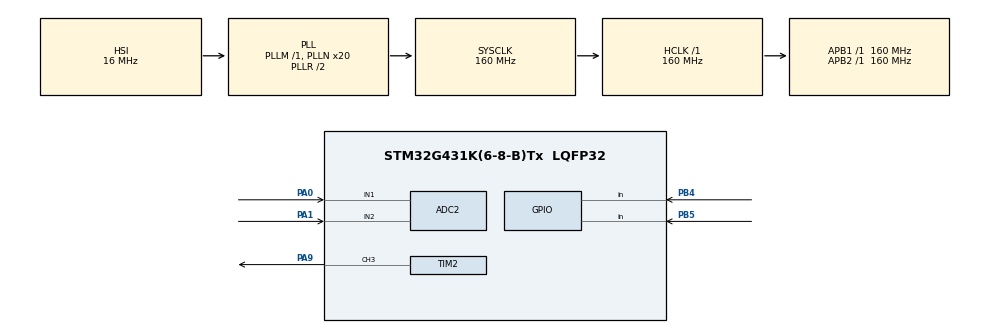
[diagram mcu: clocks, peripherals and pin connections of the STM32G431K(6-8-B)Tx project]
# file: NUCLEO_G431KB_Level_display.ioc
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ADC2.Channel-1\#ChannelRegularConversion=ADC_CHANNEL_1
ADC2.DMAContinuousRequests=ENABLE
ADC2.ExternalTrigConv=ADC_EXTERNALTRIG_T8_TRGO
ADC2.NbrOfConversion=1
ADC2.NbrOfConversionFlag=1
ADC2.OffsetNumber-1\#ChannelRegularConversion=ADC_OFFSET_NONE
ADC2.Rank-1\#ChannelRegularConversion=1
ADC2.SamplingTime-1\#ChannelRegularConversion=ADC_SAMPLETIME_247CYCLES_5
Dma.ADC2.1.Direction=DMA_PERIPH_TO_MEMORY
Dma.ADC2.1.EventEnable=DISABLE
Dma.ADC2.1.Instance=DMA1_Channel1
Dma.ADC2.1.MemDataAlignment=DMA_MDATAALIGN_HALFWORD
Dma.ADC2.1.MemInc=DMA_MINC_ENABLE
Dma.ADC2.1.Mode=DMA_CIRCULAR
Dma.ADC2.1.PeriphDataAlignment=DMA_PDATAALIGN_HALFWORD
Dma.ADC2.1.PeriphInc=DMA_PINC_DISABLE
Dma.ADC2.1.Polarity=HAL_DMAMUX_REQ_GEN_RISING
Dma.ADC2.1.Priority=DMA_PRIORITY_LOW
Dma.ADC2.1.RequestNumber=1
Dma.ADC2.1.SignalID=NONE
Dma.ADC2.1.SyncEnable=DISABLE
Dma.ADC2.1.SyncPolarity=HAL_DMAMUX_SYNC_NO_EVENT
Dma.ADC2.1.SyncRequestNumber=1
Dma.ADC2.1.SyncSignalID=NONE
Dma.Request0=TIM2_CH3
Dma.Request1=ADC2
Dma.TIM2_CH3.0.Direction=DMA_MEMORY_TO_PERIPH
Dma.TIM2_CH3.0.EventEnable=DISABLE
Dma.TIM2_CH3.0.Instance=DMA1_Channel2
Dma.TIM2_CH3.0.MemDataAlignment=DMA_MDATAALIGN_BYTE
Dma.TIM2_CH3.0.MemInc=DMA_MINC_ENABLE
Dma.TIM2_CH3.0.Mode=DMA_CIRCULAR
Dma.TIM2_CH3.0.PeriphDataAlignment=DMA_PDATAALIGN_WORD
Dma.TIM2_CH3.0.PeriphInc=DMA_PINC_DISABLE
Dma.TIM2_CH3.0.Polarity=HAL_DMAMUX_REQ_GEN_RISING
Dma.TIM2_CH3.0.Priority=DMA_PRIORITY_VERY_HIGH
Dma.TIM2_CH3.0.RequestNumber=1
Dma.TIM2_CH3.0.SignalID=NONE
Dma.TIM2_CH3.0.SyncEnable=DISABLE
Dma.TIM2_CH3.0.SyncPolarity=HAL_DMAMUX_SYNC_NO_EVENT
Dma.TIM2_CH3.0.SyncRequestNumber=1
Dma.TIM2_CH3.0.SyncSignalID=NONE
Mcu.Family=STM32G4
Mcu.Name=STM32G431K(6-8-B)Tx
Mcu.Package=LQFP32
NUCLEO-G431KB.LD2=true
NUCLEO-G431KB.VCP=true
NVIC.ADC1_2_IRQn=true\:0\:0\:false\:false\:true\:true\:true\:true
NVIC.DMA1_Channel1_IRQn=true\:0\:0\:false\:false\:true\:false\:true\:true
NVIC.DMA1_Channel2_IRQn=true\:0\:0\:false\:false\:true\:false\:true\:true
NVIC.PriorityGroup=NVIC_PRIORITYGROUP_4
NVIC.TIM2_IRQn=true\:0\:0\:false\:false\:true\:true\:true\:true
PA0.Mode=IN1-Single-Ended
PA0.Signal=ADC2_IN1
PA1.Mode=IN2-Single-Ended
PA1.Signal=ADC2_IN2
PA13.GPIO_Label=T_SWDIO
PA13.Mode=Trace_Asynchronous_SW
PA13.Signal=SYS_JTMS-SWDIO
PA14.GPIO_Label=T_SWCLK
PA14.Mode=Trace_Asynchronous_SW
PA14.Signal=SYS_JTCK-SWCLK
PA2.Signal=USART2_TX
PA3.Signal=USART2_RX
PA9.Signal=S_TIM2_CH3
PB3.GPIO_Label=T_SWO
PB3.Mode=Trace_Asynchronous_SW
PB3.Signal=SYS_JTDO-SWO
PB4.Signal=GPIO_Input
PB5.Signal=GPIO_Input
ProjectManager.HeapSize=0x200
ProjectManager.StackSize=0x400
ProjectManager.TargetToolchain=CMake
RCC.ADC12Freq_Value=160000000
RCC.AHBFreq_Value=160000000
RCC.APB1Freq_Value=160000000
RCC.APB1TimFreq_Value=160000000
RCC.APB2Freq_Value=160000000
RCC.APB2TimFreq_Value=160000000
RCC.CortexFreq_Value=160000000
RCC.EXTERNAL_CLOCK_VALUE=12288000
RCC.HCLKFreq_Value=160000000
RCC.HSE_VALUE=8000000
RCC.HSI48_VALUE=48000000
RCC.HSI_VALUE=16000000
RCC.LSE_VALUE=32768
RCC.PLLN=20
RCC.SYSCLKFreq_VALUE=160000000
RCC.SYSCLKSource=RCC_SYSCLKSOURCE_PLLCLK
RCC.USBFreq_Value=160000000
RCC.VCOOutputFreq_Value=320000000
SH.S_TIM2_CH3.0=TIM2_CH3,PWM Generation3 CH3
TIM2.Channel-PWM\ Generation3\ CH3=TIM_CHANNEL_3
TIM2.PeriodNoDither=100-1
TIM2.Prescaler=2-1
TIM8.PeriodNoDither=1000-1
TIM8.Prescaler=16000-1
TIM8.TIM_MasterOutputTrigger=TIM_TRGO_UPDATE
VP_NUCLEO-G431KB_VS_BSP_COMMON.Mode=COMMON
VP_SYS_VS_DBSignals.Mode=DisableDeadBatterySignals
VP_TIM2_VS_ClockSourceINT.Mode=Internal
VP_TIM8_VS_ClockSourceINT.Mode=Internal
board=NUCLEO-G431KB

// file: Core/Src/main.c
/* USER CODE BEGIN Header */
/**
  ******************************************************************************
  * @file           : main.c
  * @brief          : Main program body
  ******************************************************************************
  * @attention
  *
  * Copyright (c) 2026 STMicroelectronics.
  * All rights reserved.
  *
  * This software is licensed under terms that can be found in the LICENSE file
  * in the root directory of this software component.
  * If no LICENSE file comes with this software, it is provided AS-IS.
  *
  ******************************************************************************
  */
/* USER CODE END Header */
#include "main.h"

/* USER CODE BEGIN Includes */
#include "sk6812.h"
#include <stdint.h>
#include <stdbool.h>
/* USER CODE END Includes */

/* USER CODE BEGIN PD */
#define ADC_NUM_CONVERSIONS 1
#define ADC_RAW_TO_VOLTAGE(adc_value) ((adc_value * 3.3) / 4095) // Assuming a 12-bit ADC and 3.3V reference voltage
#define SENSOR_VOLTAGE_LOW_THRESHOLD_DEFAULT 0.5 // Voltage threshold for low level indication (adjust as needed)
#define SENSOR_VOLTAGE_HIGH_THRESHOLD_DEFAULT 4.5 // Voltage threshold for high level indication (adjust as needed)
#define SENSOR_VOLTAGE_LOW_ERROR_THRESHOLD 0.4 // Voltage threshold for low level error indication (adjust as needed)
#define SENSOR_VOLTAGE_HIGH_ERROR_THRESHOLD 4.7 // Voltage threshold for high level error indication (adjust as needed)

#define LED_COUNT 8 // Adjust this to the number of LEDs in your setup
#define BRIGHTNESS_MIN 0.1 // Minimum brightness (10%)
#define BRIGHTNESS_MAX 1.0 // Maximum brightness (100%)
#define BRIGHTNESS_STEP 0.05 // Step size for brightness adjustment (5%)
#define BRIGHTNESS_DEFAULT 0.3 // Default brightness (30%)
#define BRIGHTNESS_SAVE_DELAY_MS 1500U
#define CAL_FULL_VOLTAGE_HOLD_MS  4000U
#define CAL_EMPTY_VOLTAGE_HOLD_MS 7000U
#define CAL_BRIGHTNESS_HOLD_MS    10000U
#define CAL_RESET_HOLD_MS         15000U
#define CALIBRATION_TIMEOUT_MS    6000U
#define BRIGHTNESS_NV_MAGIC 0x42524631U
#define BRIGHTNESS_NV_ADDRESS (FLASH_BASE + (128U * 1024U) - FLASH_PAGE_SIZE)
#define CALIBRATION_NV_MARKER 0xA55AF00DU
/* USER CODE END PD */

COM_InitTypeDef BspCOMInit;

ADC_HandleTypeDef hadc2;
DMA_HandleTypeDef hdma_adc2;

TIM_HandleTypeDef htim2;
TIM_HandleTypeDef htim8;
DMA_HandleTypeDef hdma_tim2_ch3;

/* USER CODE BEGIN PV */
volatile uint16_t adcData[ADC_NUM_CONVERSIONS];
volatile float potVoltage[ADC_NUM_CONVERSIONS];
volatile float sensorVoltage[ADC_NUM_CONVERSIONS];
typedef struct {
  uint8_t stable_state;
  uint8_t last_raw;
  uint32_t last_change_ms;
} DebouncedInput;

volatile uint8_t sw1_state = 0;
volatile uint8_t sw2_state = 0;
static DebouncedInput sw1_db = {0, 0, 0};
static DebouncedInput sw2_db = {0, 0, 0};
/* USER CODE END PV */

void SystemClock_Config(void);
static void MX_GPIO_Init(void);
static void MX_DMA_Init(void);
static void MX_TIM2_Init(void);
static void MX_ADC2_Init(void);
static void MX_TIM8_Init(void);
/* USER CODE BEGIN PFP */

uint32_t hsl_to_rgb(uint8_t h, uint8_t s, uint8_t l);
static uint8_t debounce_read_gpio(DebouncedInput *db, GPIO_TypeDef *port, uint16_t pin, uint32_t debounce_ms);
static double brightness_clamp(double brightness);
static uint16_t brightness_to_milli(double brightness);
static double brightness_from_milli(uint16_t milli);
static uint16_t voltage_to_milli(double voltage);
static double voltage_from_milli(uint16_t milli);
static void normalize_sensor_thresholds(double *low_threshold, double *high_threshold);
static void calibration_values_load_from_flash(double *brightness, double *low_threshold, double *high_threshold);
static void calibration_values_write_to_flash(double brightness, double low_threshold, double high_threshold);
static void brightness_save_to_flash(double brightness);
static void low_threshold_save_to_flash(double low_threshold);
static void high_threshold_save_to_flash(double high_threshold);

/* USER CODE END PFP */

/* USER CODE BEGIN 0 */
static double brightness_clamp(double brightness) {
  if (brightness < BRIGHTNESS_MIN) {
    return BRIGHTNESS_MIN;
  }
  if (brightness > BRIGHTNESS_MAX) {
    return BRIGHTNESS_MAX;
  }
  return brightness;
}

static uint16_t brightness_to_milli(double brightness) {
  return (uint16_t)(brightness_clamp(brightness) * 1000.0 + 0.5);
}

static double brightness_from_milli(uint16_t milli) {
  return brightness_clamp((double)milli / 1000.0);
}

static uint16_t voltage_to_milli(double voltage) {
  if (voltage < 0.0) {
    voltage = 0.0;
  }
  if (voltage > 5.0) {
    voltage = 5.0;
  }
  return (uint16_t)(voltage * 1000.0 + 0.5);
}

static double voltage_from_milli(uint16_t milli) {
  return (double)milli / 1000.0;
}

static void normalize_sensor_thresholds(double *low_threshold, double *high_threshold) {
  if (*low_threshold < 0.0) {
    *low_threshold = 0.0;
  }
  if (*low_threshold > 5.0) {
    *low_threshold = 5.0;
  }
  if (*high_threshold < 0.0) {
    *high_threshold = 0.0;
  }
  if (*high_threshold > 5.0) {
    *high_threshold = 5.0;
  }

  if (*high_threshold <= *low_threshold) {
    *high_threshold = *low_threshold + 0.1;
    if (*high_threshold > 5.0) {
      *high_threshold = 5.0;
      *low_threshold = 4.9;
    }
  }
}

static void calibration_values_load_from_flash(double *brightness, double *low_threshold, double *high_threshold) {
  const uint64_t raw0 = *(const uint64_t *)BRIGHTNESS_NV_ADDRESS;
  const uint64_t raw1 = *(const uint64_t *)(BRIGHTNESS_NV_ADDRESS + 8U);
  const uint32_t magic = (uint32_t)(raw0 & 0xFFFFFFFFULL);
  const uint16_t brightness_milli = (uint16_t)((raw0 >> 32) & 0xFFFFULL);
  const uint16_t low_milli = (uint16_t)((raw0 >> 48) & 0xFFFFULL);
  const uint16_t high_milli = (uint16_t)(raw1 & 0xFFFFULL);
  const uint16_t check = (uint16_t)((raw1 >> 16) & 0xFFFFULL);
  const uint32_t marker = (uint32_t)((raw1 >> 32) & 0xFFFFFFFFULL);
  const uint16_t expected_check = (uint16_t)(brightness_milli ^ low_milli ^ high_milli ^ 0xA5A5U);

  if ((magic == BRIGHTNESS_NV_MAGIC) &&
      (marker == CALIBRATION_NV_MARKER) &&
      (check == expected_check)) {
    *brightness = brightness_from_milli(brightness_milli);
    *low_threshold = voltage_from_milli(low_milli);
    *high_threshold = voltage_from_milli(high_milli);
    normalize_sensor_thresholds(low_threshold, high_threshold);
  }
}

static void calibration_values_write_to_flash(double brightness, double low_threshold, double high_threshold) {
  FLASH_EraseInitTypeDef erase = {0};
  uint32_t page_error = 0;
  const uint16_t brightness_milli = brightness_to_milli(brightness);
  uint16_t low_milli = 0;
  uint16_t high_milli = 0;
  uint16_t check = 0;
  uint64_t payload0 = 0;
  uint64_t payload1 = 0;

  normalize_sensor_thresholds(&low_threshold, &high_threshold);

  low_milli = voltage_to_milli(low_threshold);
  high_milli = voltage_to_milli(high_threshold);
  check = (uint16_t)(brightness_milli ^ low_milli ^ high_milli ^ 0xA5A5U);

  payload0 = ((uint64_t)low_milli << 48)
           | ((uint64_t)brightness_milli << 32)
           | (uint64_t)BRIGHTNESS_NV_MAGIC;

  payload1 = ((uint64_t)CALIBRATION_NV_MARKER << 32)
           | ((uint64_t)check << 16)
           | (uint64_t)high_milli;

  HAL_FLASH_Unlock();

  erase.TypeErase = FLASH_TYPEERASE_PAGES;
  erase.Banks = FLASH_BANK_1;
  erase.Page = (BRIGHTNESS_NV_ADDRESS - FLASH_BASE) / FLASH_PAGE_SIZE;
  erase.NbPages = 1;

  if (HAL_FLASHEx_Erase(&erase, &page_error) == HAL_OK) {
    (void)HAL_FLASH_Program(FLASH_TYPEPROGRAM_DOUBLEWORD, BRIGHTNESS_NV_ADDRESS, payload0);
    (void)HAL_FLASH_Program(FLASH_TYPEPROGRAM_DOUBLEWORD, BRIGHTNESS_NV_ADDRESS + 8U, payload1);
  }

  HAL_FLASH_Lock();
}

static void brightness_save_to_flash(double brightness) {
  double current_brightness = BRIGHTNESS_DEFAULT;
  double current_low_threshold = SENSOR_VOLTAGE_LOW_THRESHOLD_DEFAULT;
  double current_high_threshold = SENSOR_VOLTAGE_HIGH_THRESHOLD_DEFAULT;

  calibration_values_load_from_flash(&current_brightness, &current_low_threshold, &current_high_threshold);
  calibration_values_write_to_flash(brightness, current_low_threshold, current_high_threshold);
}

static void low_threshold_save_to_flash(double low_threshold) {
  double current_brightness = BRIGHTNESS_DEFAULT;
  double current_low_threshold = SENSOR_VOLTAGE_LOW_THRESHOLD_DEFAULT;
  double current_high_threshold = SENSOR_VOLTAGE_HIGH_THRESHOLD_DEFAULT;

  calibration_values_load_from_flash(&current_brightness, &current_low_threshold, &current_high_threshold);
  calibration_values_write_to_flash(current_brightness, low_threshold, current_high_threshold);
}

static void high_threshold_save_to_flash(double high_threshold) {
  double current_brightness = BRIGHTNESS_DEFAULT;
  double current_low_threshold = SENSOR_VOLTAGE_LOW_THRESHOLD_DEFAULT;
  double current_high_threshold = SENSOR_VOLTAGE_HIGH_THRESHOLD_DEFAULT;

  calibration_values_load_from_flash(&current_brightness, &current_low_threshold, &current_high_threshold);
  calibration_values_write_to_flash(current_brightness, current_low_threshold, high_threshold);
}

static uint8_t debounce_read_gpio(DebouncedInput *db, GPIO_TypeDef *port, uint16_t pin, uint32_t debounce_ms) {
  uint8_t raw = (uint8_t)HAL_GPIO_ReadPin(port, pin);
  uint32_t now = HAL_GetTick();

  if (raw != db->last_raw) {
    db->last_raw = raw;
    db->last_change_ms = now;
  }

  if ((now - db->last_change_ms) >= debounce_ms) {
    db->stable_state = raw;
  }

  return db->stable_state;
}

void HAL_ADC_ConvCpltCallback(ADC_HandleTypeDef *hadc) {
  for (uint8_t i = 0; i < ADC_NUM_CONVERSIONS; ++i) {
    potVoltage[i] = ADC_RAW_TO_VOLTAGE(adcData[i]);
    //sensor votage is the adcVoltage scaled to 5v
    sensorVoltage[i]  = potVoltage[i] * (5.0 / 3.3);

  }
}

/* USER CODE END 0 */

int main(void)
{

  /* MCU Configuration--------------------------------------------------------*/

  /* Reset of all peripherals, Initializes the Flash interface and the Systick. */
  HAL_Init();

  /* Configure the system clock */
  SystemClock_Config();

  /* Initialize all configured peripherals */
  MX_GPIO_Init();
  MX_DMA_Init();
  MX_TIM2_Init();
  MX_ADC2_Init();
  MX_TIM8_Init();
  /* USER CODE BEGIN 2 */
  bool sensor_voltage_low_error = false;
  bool sensor_voltage_high_error = false;
  bool calibration_mode = false;
  bool locked_for_calibration = false;
  bool full_voltage_calibration_mode = false;
  bool empty_voltage_calibration_mode = false;
  bool brightness_calibration_mode = false;

  uint32_t sw1_held_since_ms = 0;
  uint8_t sw1_held_active = 0;
  uint32_t last_button_activity_ms = 0;

  double sensor_voltage_low_threshold = SENSOR_VOLTAGE_LOW_THRESHOLD_DEFAULT;
  double sensor_voltage_high_threshold = SENSOR_VOLTAGE_HIGH_THRESHOLD_DEFAULT;
  double brightness_fraction = BRIGHTNESS_DEFAULT; // Brightness fraction constrained to BRIGHTNESS_MIN..BRIGHTNESS_MAX
  double brightness_saved_fraction = brightness_fraction;
  double low_threshold_saved = sensor_voltage_low_threshold;
  double high_threshold_saved = sensor_voltage_high_threshold;
  uint16_t flash_interval_ms = 500; // Flash interval in milliseconds
  uint8_t r, g, b; // Variables to hold RGB values for each LED
  uint8_t sw1_prev = 0;
  uint8_t sw2_prev = 0;

  calibration_values_load_from_flash(&brightness_fraction, &sensor_voltage_low_threshold, &sensor_voltage_high_threshold);
  brightness_saved_fraction = brightness_fraction;
  low_threshold_saved = sensor_voltage_low_threshold;
  high_threshold_saved = sensor_voltage_high_threshold;

  HAL_ADCEx_Calibration_Start(&hadc2, ADC_SINGLE_ENDED);
  HAL_ADC_Start_DMA(&hadc2, (uint32_t*)adcData, ADC_NUM_CONVERSIONS);
  HAL_TIM_Base_Start(&htim8);

  sw1_db.last_raw = (uint8_t)HAL_GPIO_ReadPin(SW1_GPIO_Port, SW1_Pin);
  sw1_db.stable_state = sw1_db.last_raw;
  sw1_db.last_change_ms = HAL_GetTick();

  sw2_db.last_raw = (uint8_t)HAL_GPIO_ReadPin(SW2_GPIO_Port, SW2_Pin);
  sw2_db.stable_state = sw2_db.last_raw;
  sw2_db.last_change_ms = HAL_GetTick();

  sw1_prev = sw1_db.stable_state;
  sw2_prev = sw2_db.stable_state;
  /* USER CODE END 2 */

  /* Initialize leds */
  BSP_LED_Init(LED_GREEN);

  /* Initialize COM1 port (115200, 8 bits (7-bit data + 1 stop bit), no parity */
  BspCOMInit.BaudRate   = 115200;
  BspCOMInit.WordLength = COM_WORDLENGTH_8B;
  BspCOMInit.StopBits   = COM_STOPBITS_1;
  BspCOMInit.Parity     = COM_PARITY_NONE;
  BspCOMInit.HwFlowCtl  = COM_HWCONTROL_NONE;
  if (BSP_COM_Init(COM1, &BspCOMInit) != BSP_ERROR_NONE)
  {
    Error_Handler();
  }

  /* Infinite loop */
  /* USER CODE BEGIN WHILE */
  while (1)
  {

    sw1_state = debounce_read_gpio(&sw1_db, SW1_GPIO_Port, SW1_Pin, 20U);
    sw2_state = debounce_read_gpio(&sw2_db, SW2_GPIO_Port, SW2_Pin, 20U);

    // Track any button activity for calibration timeout
    if ((sw1_state != sw1_prev) || (sw1_state == 1U) || (sw2_state != sw2_prev)) {
      last_button_activity_ms = HAL_GetTick();
    }

    // SW1 hold-duration calibration mode selection
    if (sw1_state == 1U ) {
      if (!sw1_held_active) {
        sw1_held_active = 1U;
        sw1_held_since_ms = HAL_GetTick();
      } else {
        uint32_t held_ms = HAL_GetTick() - sw1_held_since_ms;
        if (locked_for_calibration) {
          // If already locked in a calibration mode.
          //save full value after holding for 4 seconds.
          if (full_voltage_calibration_mode && held_ms >= 4000U) {
            sensor_voltage_high_threshold = sensorVoltage[0];
            normalize_sensor_thresholds(&sensor_voltage_low_threshold, &sensor_voltage_high_threshold);
            if (voltage_to_milli(high_threshold_saved) != voltage_to_milli(sensor_voltage_high_threshold)) {
              high_threshold_save_to_flash(sensor_voltage_high_threshold);
              high_threshold_saved = sensor_voltage_high_threshold;
            }
            //set calibration modes back to false
            full_voltage_calibration_mode = false;
            empty_voltage_calibration_mode = false;
            brightness_calibration_mode = false;
            calibration_mode = false;
            locked_for_calibration = false;
            sw1_held_active = 0U; // Reset hold state to prevent multiple saves without a new button press
          }
          //save empty value after holding for 4 seconds.
          if (empty_voltage_calibration_mode && held_ms >= 4000U) {
            sensor_voltage_low_threshold = sensorVoltage[0];
            normalize_sensor_thresholds(&sensor_voltage_low_threshold, &sensor_voltage_high_threshold);
            if (voltage_to_milli(low_threshold_saved) != voltage_to_milli(sensor_voltage_low_threshold)) {
              low_threshold_save_to_flash(sensor_voltage_low_threshold);
              low_threshold_saved = sensor_voltage_low_threshold;
            }
            //set calibration modes back to false
            full_voltage_calibration_mode = false;
            empty_voltage_calibration_mode = false;
            brightness_calibration_mode = false;
            calibration_mode = false;
            locked_for_calibration = false;
            sw1_held_active = 0U; // Reset hold state to prevent multiple saves without a new button press
          }

        } else {

        if (held_ms >= CAL_FULL_VOLTAGE_HOLD_MS && held_ms < CAL_EMPTY_VOLTAGE_HOLD_MS) {
          full_voltage_calibration_mode = true;
          empty_voltage_calibration_mode = false;
          brightness_calibration_mode = false;
          calibration_mode = true;
        }
        if (held_ms >= CAL_EMPTY_VOLTAGE_HOLD_MS && held_ms < CAL_BRIGHTNESS_HOLD_MS) {
          full_voltage_calibration_mode = false;
          empty_voltage_calibration_mode = true;
          brightness_calibration_mode = false;
          calibration_mode = true;
        }
        if (held_ms >=  CAL_BRIGHTNESS_HOLD_MS && held_ms < CAL_RESET_HOLD_MS) {
          full_voltage_calibration_mode = false;
          empty_voltage_calibration_mode = false;
          brightness_calibration_mode = true;
          calibration_mode = true;
        }
        if (held_ms >= CAL_RESET_HOLD_MS) {
          // Reset all calibrations
          full_voltage_calibration_mode = false;
          empty_voltage_calibration_mode = false;
          brightness_calibration_mode = false;
          calibration_mode = false;
          locked_for_calibration = false;
          sensor_voltage_low_threshold = SENSOR_VOLTAGE_LOW_THRESHOLD_DEFAULT;
          sensor_voltage_high_threshold = SENSOR_VOLTAGE_HIGH_THRESHOLD_DEFAULT;
          brightness_fraction = BRIGHTNESS_DEFAULT;
          brightness_save_to_flash(brightness_fraction);
          low_threshold_save_to_flash(sensor_voltage_low_threshold);
          high_threshold_save_to_flash(sensor_voltage_high_threshold);
          brightness_saved_fraction = brightness_fraction;
          low_threshold_saved = sensor_voltage_low_threshold;
          high_threshold_saved = sensor_voltage_high_threshold;
        }
      }
    }
    } else {
      sw1_held_active = 0U;
      if (calibration_mode && !locked_for_calibration) {
        // Lock in the calibration mode on button release to prevent accidental changes
        locked_for_calibration = true;
      } else if (!calibration_mode) {
        // If not in calibration mode, reset the locked state
        locked_for_calibration = false;
      }
    }

    // In brightness calibration mode, each SW1 press cycles brightness through the allowed range.
    if (brightness_calibration_mode && (sw1_state == 1U) && (sw1_prev == 0U)) {
      brightness_fraction += BRIGHTNESS_STEP;
      if (brightness_fraction > BRIGHTNESS_MAX) {
        brightness_fraction = BRIGHTNESS_MIN;
      }
    }

    // Exit all calibration modes after CALIBRATION_TIMEOUT_MS with no button activity
    if (calibration_mode &&
        ((HAL_GetTick() - last_button_activity_ms) >= CALIBRATION_TIMEOUT_MS)) {

      // Save brightness if it has changed and we are exiting calibration mode and     brightness_calibration_mode was active
      if (brightness_calibration_mode && (brightness_to_milli(brightness_saved_fraction) != brightness_to_milli(brightness_fraction))) {
        brightness_save_to_flash(brightness_fraction);
        brightness_saved_fraction = brightness_fraction;
      }

      calibration_mode = false;
      full_voltage_calibration_mode = false;
      empty_voltage_calibration_mode = false;
      brightness_calibration_mode = false;
      locked_for_calibration = false;
    }

    // if ((sw1_state == 1U) && (sw1_prev == 0U)) {
    //   brightness_fraction = brightness_clamp(brightness_fraction + BRIGHTNESS_STEP);
    // }

    // if ((sw2_state == 1U) && (sw2_prev == 0U)) {
    //   brightness_fraction = brightness_clamp(brightness_fraction - BRIGHTNESS_STEP);
    // }

    // if (brightness_to_milli(previous_brightness) != brightness_to_milli(brightness_fraction)) {
    //   brightness_save_pending = 1U;
    //   brightness_last_change_ms = HAL_GetTick();
    // }

    // if (brightness_save_pending && ((HAL_GetTick() - brightness_last_change_ms) >= BRIGHTNESS_SAVE_DELAY_MS)) {
    //   if (brightness_to_milli(brightness_saved_fraction) != brightness_to_milli(brightness_fraction)) {
    //     brightness_save_to_flash(brightness_fraction);
    //     brightness_saved_fraction = brightness_fraction;
    //   }
    //   brightness_save_pending = 0U;
    // }

    sw1_prev = sw1_state;
    sw2_prev = sw2_state;

    /* USER CODE END WHILE */

    /* USER CODE BEGIN 3 */
    sensor_voltage_low_error = (sensorVoltage[0] < SENSOR_VOLTAGE_LOW_ERROR_THRESHOLD);
    sensor_voltage_high_error = (sensorVoltage[0] > SENSOR_VOLTAGE_HIGH_ERROR_THRESHOLD);

    double level_percent_fraction = (sensorVoltage[0] - sensor_voltage_low_threshold) / (sensor_voltage_high_threshold - sensor_voltage_low_threshold); // Map between calibrated empty/full thresholds
    //clamp to 0..1
    if (level_percent_fraction < 0) {
      level_percent_fraction = 0;
    }
    if (level_percent_fraction > 1) {
      level_percent_fraction = 1;
    }
    double level_percent = level_percent_fraction * 100; // Convert to percentage

    // Update the LEDs based on the level percentage
    // if level is <2% the first two leds should flash red. If the level is 100% all leds should be green.

      for (uint8_t i = 0; i < LED_COUNT; i++) {
        // The leds need to act like a level display. if the level is 0% the first two leds should flash red.
        // If the level is 100% all leds should be green.
        if (full_voltage_calibration_mode) {
          // Flash top two LEDs green for full voltage calibration
          if (i >= LED_COUNT - 2) {
            if ((HAL_GetTick() / flash_interval_ms) % 2 == 0) {
              led_set_RGB(i, 0, (uint8_t)(255 * brightness_fraction), 0);
            } else {
              led_set_RGB(i, 0, 0, 0);
            }
          } else {
            led_set_RGB(i, 0, 0, 0);
          }
        } else if (empty_voltage_calibration_mode) {
          // Flash bottom two LEDs green for empty voltage calibration
          if (i < 2) {
            if ((HAL_GetTick() / flash_interval_ms) % 2 == 0) {
              led_set_RGB(i, 0, (uint8_t)(255 * brightness_fraction), 0);
            } else {
              led_set_RGB(i, 0, 0, 0);
            }
          } else {
            led_set_RGB(i, 0, 0, 0);
          }
        } else if (brightness_calibration_mode) {
          // solid white for brightness calibration
          led_set_RGB(i, (uint8_t)(255 * brightness_fraction), (uint8_t)(255 * brightness_fraction), (uint8_t)(255 * brightness_fraction));
        } else if (sensor_voltage_low_error) {
          // Flash first and last LED yellow on sensor low error
          if (i == 0 || i == LED_COUNT - 1) {
            if ((HAL_GetTick() / flash_interval_ms) % 2 == 0) {
              led_set_RGB(i, (uint8_t)(255 * brightness_fraction), (uint8_t)(255 * brightness_fraction), 0);
            } else {
              led_set_RGB(i, 0, 0, 0);
            }
          } else {
            led_set_RGB(i, 0, 0, 0);
          }
        } else if (sensor_voltage_high_error) {
          // Flash first and last LED red on sensor high error
          if (i == 0 || i == LED_COUNT - 1) {
            if ((HAL_GetTick() / flash_interval_ms) % 2 == 0) {
              led_set_RGB(i, (uint8_t)(255 * brightness_fraction), 0, 0);
            } else {
              led_set_RGB(i, 0, 0, 0);
            }
          } else {
            led_set_RGB(i, 0, 0, 0);
          }
        } else if (level_percent < 2) {
          // Flash red for 0-2%
          if ((HAL_GetTick() / flash_interval_ms) % 2 == 0) {
            r = 255 * brightness_fraction;
            g = 0;
            b = 0;
          } else {
            r = 0;
            g = 0;
            b = 0;
          }
          if (i < 2) {
            // This led should be on
            led_set_RGB(i, r, g, b);
          } else {
            // This led should be off
            led_set_RGB(i, 0, 0, 0);
          }
        } else if (level_percent >= 2 && level_percent < 25) {
          // solid red for 2-25%
          r = 255 * brightness_fraction;
          g = 0;
          b = 0;
          if (i < level_percent_fraction * LED_COUNT) {
            // This led should be on
            led_set_RGB(i, r, g, b);
          } else {
            // This led should be off
            led_set_RGB(i, 0, 0, 0);
          }
        } else if (level_percent >= 25 && level_percent < 50) {
          // solid yellow for 25-50%
          r = 255 * brightness_fraction; // red
          g = 255 * brightness_fraction; // green
          b = 0;
          if (i < level_percent_fraction * LED_COUNT) {
            // This led should be on
            led_set_RGB(i, r, g, b);
          } else {
            // This led should be off
            led_set_RGB(i, 0, 0, 0);
          }
        } else {
          // solid green for 50-100%
          r = 0;
          g =  255 * brightness_fraction; // green
          b = 0;
          if (i < level_percent_fraction * LED_COUNT) {
            // This led should be on
            led_set_RGB(i, r, g, b);
          } else {
            // This led should be off
            led_set_RGB(i, 0, 0, 0);
          }
        }
      }
		led_render();
		// Some delay
		HAL_Delay(10);

  }
  /* USER CODE END 3 */
}

void SystemClock_Config(void)
{
  RCC_OscInitTypeDef RCC_OscInitStruct = {0};
  RCC_ClkInitTypeDef RCC_ClkInitStruct = {0};

  /** Configure the main internal regulator output voltage
  */
  HAL_PWREx_ControlVoltageScaling(PWR_REGULATOR_VOLTAGE_SCALE1_BOOST);

  /** Initializes the RCC Oscillators according to the specified parameters
  * in the RCC_OscInitTypeDef structure.
  */
  RCC_OscInitStruct.OscillatorType = RCC_OSCILLATORTYPE_HSI;
  RCC_OscInitStruct.HSIState = RCC_HSI_ON;
  RCC_OscInitStruct.HSICalibrationValue = RCC_HSICALIBRATION_DEFAULT;
  RCC_OscInitStruct.PLL.PLLState = RCC_PLL_ON;
  RCC_OscInitStruct.PLL.PLLSource = RCC_PLLSOURCE_HSI;
  RCC_OscInitStruct.PLL.PLLM = RCC_PLLM_DIV1;
  RCC_OscInitStruct.PLL.PLLN = 20;
  RCC_OscInitStruct.PLL.PLLP = RCC_PLLP_DIV2;
  RCC_OscInitStruct.PLL.PLLQ = RCC_PLLQ_DIV2;
  RCC_OscInitStruct.PLL.PLLR = RCC_PLLR_DIV2;
  if (HAL_RCC_OscConfig(&RCC_OscInitStruct) != HAL_OK)
  {
    Error_Handler();
  }

  /** Initializes the CPU, AHB and APB buses clocks
  */
  RCC_ClkInitStruct.ClockType = RCC_CLOCKTYPE_HCLK|RCC_CLOCKTYPE_SYSCLK
                              |RCC_CLOCKTYPE_PCLK1|RCC_CLOCKTYPE_PCLK2;
  RCC_ClkInitStruct.SYSCLKSource = RCC_SYSCLKSOURCE_PLLCLK;
  RCC_ClkInitStruct.AHBCLKDivider = RCC_SYSCLK_DIV1;
  RCC_ClkInitStruct.APB1CLKDivider = RCC_HCLK_DIV1;
  RCC_ClkInitStruct.APB2CLKDivider = RCC_HCLK_DIV1;

  if (HAL_RCC_ClockConfig(&RCC_ClkInitStruct, FLASH_LATENCY_4) != HAL_OK)
  {
    Error_Handler();
  }
}

static void MX_ADC2_Init(void)
{

  ADC_ChannelConfTypeDef sConfig = {0};

  /** Common config
  */
  hadc2.Instance = ADC2;
  hadc2.Init.ClockPrescaler = ADC_CLOCK_SYNC_PCLK_DIV4;
  hadc2.Init.Resolution = ADC_RESOLUTION_12B;
  hadc2.Init.DataAlign = ADC_DATAALIGN_RIGHT;
  hadc2.Init.GainCompensation = 0;
  hadc2.Init.ScanConvMode = ADC_SCAN_DISABLE;
  hadc2.Init.EOCSelection = ADC_EOC_SINGLE_CONV;
  hadc2.Init.LowPowerAutoWait = DISABLE;
  hadc2.Init.ContinuousConvMode = DISABLE;
  hadc2.Init.NbrOfConversion = 1;
  hadc2.Init.DiscontinuousConvMode = DISABLE;
  hadc2.Init.ExternalTrigConv = ADC_EXTERNALTRIG_T8_TRGO;
  hadc2.Init.ExternalTrigConvEdge = ADC_EXTERNALTRIGCONVEDGE_RISING;
  hadc2.Init.DMAContinuousRequests = ENABLE;
  hadc2.Init.Overrun = ADC_OVR_DATA_PRESERVED;
  hadc2.Init.OversamplingMode = DISABLE;
  if (HAL_ADC_Init(&hadc2) != HAL_OK)
  {
    Error_Handler();
  }

  /** Configure Regular Channel
  */
  sConfig.Channel = ADC_CHANNEL_1;
  sConfig.Rank = ADC_REGULAR_RANK_1;
  sConfig.SamplingTime = ADC_SAMPLETIME_247CYCLES_5;
  sConfig.SingleDiff = ADC_SINGLE_ENDED;
  sConfig.OffsetNumber = ADC_OFFSET_NONE;
  sConfig.Offset = 0;
  if (HAL_ADC_ConfigChannel(&hadc2, &sConfig) != HAL_OK)
  {
    Error_Handler();
  }

}

static void MX_TIM2_Init(void)
{

  TIM_ClockConfigTypeDef sClockSourceConfig = {0};
  TIM_MasterConfigTypeDef sMasterConfig = {0};
  TIM_OC_InitTypeDef sConfigOC = {0};

  htim2.Instance = TIM2;
  htim2.Init.Prescaler = 2-1;
  htim2.Init.CounterMode = TIM_COUNTERMODE_UP;
  htim2.Init.Period = 99;
  htim2.Init.ClockDivision = TIM_CLOCKDIVISION_DIV1;
  htim2.Init.AutoReloadPreload = TIM_AUTORELOAD_PRELOAD_DISABLE;
  if (HAL_TIM_Base_Init(&htim2) != HAL_OK)
  {
    Error_Handler();
  }
  sClockSourceConfig.ClockSource = TIM_CLOCKSOURCE_INTERNAL;
  if (HAL_TIM_ConfigClockSource(&htim2, &sClockSourceConfig) != HAL_OK)
  {
    Error_Handler();
  }
  if (HAL_TIM_PWM_Init(&htim2) != HAL_OK)
  {
    Error_Handler();
  }
  sMasterConfig.MasterOutputTrigger = TIM_TRGO_RESET;
  sMasterConfig.MasterSlaveMode = TIM_MASTERSLAVEMODE_DISABLE;
  if (HAL_TIMEx_MasterConfigSynchronization(&htim2, &sMasterConfig) != HAL_OK)
  {
    Error_Handler();
  }
  sConfigOC.OCMode = TIM_OCMODE_PWM1;
  sConfigOC.Pulse = 0;
  sConfigOC.OCPolarity = TIM_OCPOLARITY_HIGH;
  sConfigOC.OCFastMode = TIM_OCFAST_DISABLE;
  if (HAL_TIM_PWM_ConfigChannel(&htim2, &sConfigOC, TIM_CHANNEL_3) != HAL_OK)
  {
    Error_Handler();
  }
  HAL_TIM_MspPostInit(&htim2);

}

static void MX_TIM8_Init(void)
{

  TIM_ClockConfigTypeDef sClockSourceConfig = {0};
  TIM_MasterConfigTypeDef sMasterConfig = {0};

  htim8.Instance = TIM8;
  htim8.Init.Prescaler = 16000-1;
  htim8.Init.CounterMode = TIM_COUNTERMODE_UP;
  htim8.Init.Period = 999;
  htim8.Init.ClockDivision = TIM_CLOCKDIVISION_DIV1;
  htim8.Init.RepetitionCounter = 0;
  htim8.Init.AutoReloadPreload = TIM_AUTORELOAD_PRELOAD_DISABLE;
  if (HAL_TIM_Base_Init(&htim8) != HAL_OK)
  {
    Error_Handler();
  }
  sClockSourceConfig.ClockSource = TIM_CLOCKSOURCE_INTERNAL;
  if (HAL_TIM_ConfigClockSource(&htim8, &sClockSourceConfig) != HAL_OK)
  {
    Error_Handler();
  }
  sMasterConfig.MasterOutputTrigger = TIM_TRGO_UPDATE;
  sMasterConfig.MasterOutputTrigger2 = TIM_TRGO2_RESET;
  sMasterConfig.MasterSlaveMode = TIM_MASTERSLAVEMODE_DISABLE;
  if (HAL_TIMEx_MasterConfigSynchronization(&htim8, &sMasterConfig) != HAL_OK)
  {
    Error_Handler();
  }

}

static void MX_DMA_Init(void)
{

  /* DMA controller clock enable */
  __HAL_RCC_DMAMUX1_CLK_ENABLE();
  __HAL_RCC_DMA1_CLK_ENABLE();

  /* DMA interrupt init */
  /* DMA1_Channel1_IRQn interrupt configuration */
  HAL_NVIC_SetPriority(DMA1_Channel1_IRQn, 0, 0);
  HAL_NVIC_EnableIRQ(DMA1_Channel1_IRQn);
  /* DMA1_Channel2_IRQn interrupt configuration */
  HAL_NVIC_SetPriority(DMA1_Channel2_IRQn, 0, 0);
  HAL_NVIC_EnableIRQ(DMA1_Channel2_IRQn);

}

static void MX_GPIO_Init(void)
{
  GPIO_InitTypeDef GPIO_InitStruct = {0};

  /* GPIO Ports Clock Enable */
  __HAL_RCC_GPIOA_CLK_ENABLE();
  __HAL_RCC_GPIOB_CLK_ENABLE();

  /*Configure GPIO pins : PB4 PB5 */
  GPIO_InitStruct.Pin = GPIO_PIN_4|GPIO_PIN_5;
  GPIO_InitStruct.Mode = GPIO_MODE_INPUT;
  GPIO_InitStruct.Pull = GPIO_NOPULL;
  HAL_GPIO_Init(GPIOB, &GPIO_InitStruct);

  /* USER CODE BEGIN MX_GPIO_Init_2 */
  // GPIO_InitTypeDef GPIO_InitStruct = {0};

  GPIO_InitStruct.Pin = SW1_Pin | SW2_Pin;
  GPIO_InitStruct.Mode = GPIO_MODE_INPUT;
  GPIO_InitStruct.Pull = GPIO_PULLDOWN;
  HAL_GPIO_Init(GPIOB, &GPIO_InitStruct);

  /* USER CODE END MX_GPIO_Init_2 */
}

/* USER CODE BEGIN 4 */
// Fast hsl2rgb algorithm: https://stackoverflow.com/questions/13105185/fast-algorithm-for-rgb-hsl-conversion
uint32_t hsl_to_rgb(uint8_t h, uint8_t s, uint8_t l) {
	if(l == 0) return 0;

	volatile uint8_t  r, g, b, lo, c, x, m;
	volatile uint16_t h1, l1, H;
	l1 = l + 1;
	if (l < 128)    c = ((l1 << 1) * s) >> 8;
	else            c = (512 - (l1 << 1)) * s >> 8;

	H = h * 6;              // 0 to 1535 (actually 1530)
	lo = H & 255;           // Low byte  = primary/secondary color mix
	h1 = lo + 1;

	if ((H & 256) == 0)   x = h1 * c >> 8;          // even sextant, like red to yellow
	else                  x = (256 - h1) * c >> 8;  // odd sextant, like yellow to green

	m = l - (c >> 1);
	switch(H >> 8) {       // High byte = sextant of colorwheel
	 case 0 : r = c; g = x; b = 0; break; // R to Y
	 case 1 : r = x; g = c; b = 0; break; // Y to G
	 case 2 : r = 0; g = c; b = x; break; // G to C
	 case 3 : r = 0; g = x; b = c; break; // C to B
	 case 4 : r = x; g = 0; b = c; break; // B to M
	 default: r = c; g = 0; b = x; break; // M to R
	}

	return (((uint32_t)r + m) << 16) | (((uint32_t)g + m) << 8) | ((uint32_t)b + m);
}

/* USER CODE END 4 */

/* USER CODE BEGIN Header */
/**
  ******************************************************************************
  * @file           : main.c
  * @brief          : Main program body
  ******************************************************************************
  * @attention
  *
  * Copyright (c) 2026 STMicroelectronics.
  * All rights reserved.
  *
  * This software is licensed under terms that can be found in the LICENSE file
  * in the root directory of this software component.
  * If no LICENSE file comes with this software, it is provided AS-IS.
  *
  ******************************************************************************
  */
/* USER CODE END Header */

void Error_Handler(void)
{
  __disable_irq();
  while (1)
  {
  }
}
